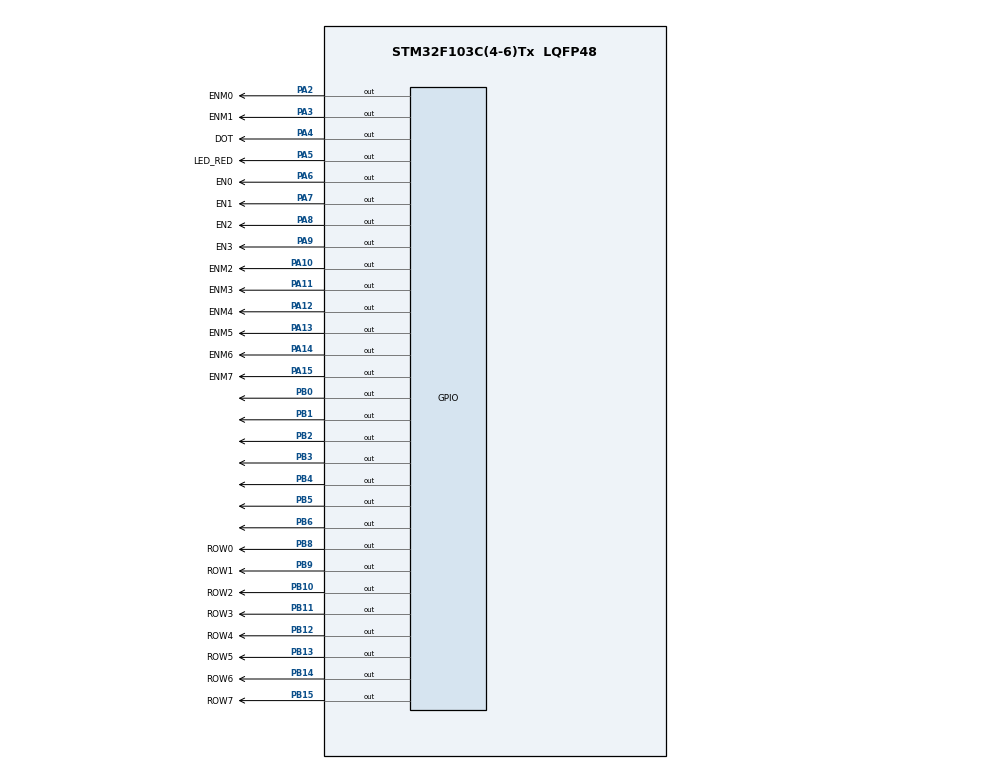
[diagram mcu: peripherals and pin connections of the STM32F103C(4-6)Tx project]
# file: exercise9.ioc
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Mcu.Family=STM32F1
Mcu.Name=STM32F103C(4-6)Tx
Mcu.Package=LQFP48
NVIC.PriorityGroup=NVIC_PRIORITYGROUP_4
NVIC.TIM2_IRQn=true\:0\:0\:false\:false\:true\:true\:true\:true
PA10.GPIO_Label=ENM2
PA10.Signal=GPIO_Output
PA11.GPIO_Label=ENM3
PA11.Signal=GPIO_Output
PA12.GPIO_Label=ENM4
PA12.Signal=GPIO_Output
PA13.GPIO_Label=ENM5
PA13.Signal=GPIO_Output
PA14.GPIO_Label=ENM6
PA14.Signal=GPIO_Output
PA15.GPIO_Label=ENM7
PA15.Signal=GPIO_Output
PA2.GPIO_Label=ENM0
PA2.Signal=GPIO_Output
PA3.GPIO_Label=ENM1
PA3.Signal=GPIO_Output
PA4.GPIO_Label=DOT
PA4.Signal=GPIO_Output
PA5.GPIO_Label=LED_RED
PA5.Signal=GPIO_Output
PA6.GPIO_Label=EN0
PA6.Signal=GPIO_Output
PA7.GPIO_Label=EN1
PA7.Signal=GPIO_Output
PA8.GPIO_Label=EN2
PA8.Signal=GPIO_Output
PA9.GPIO_Label=EN3
PA9.Signal=GPIO_Output
PB0.Signal=GPIO_Output
PB1.Signal=GPIO_Output
PB10.GPIO_Label=ROW2
PB10.Signal=GPIO_Output
PB11.GPIO_Label=ROW3
PB11.Signal=GPIO_Output
PB12.GPIO_Label=ROW4
PB12.Signal=GPIO_Output
PB13.GPIO_Label=ROW5
PB13.Signal=GPIO_Output
PB14.GPIO_Label=ROW6
PB14.Signal=GPIO_Output
PB15.GPIO_Label=ROW7
PB15.Signal=GPIO_Output
PB2.Signal=GPIO_Output
PB3.Signal=GPIO_Output
PB4.Signal=GPIO_Output
PB5.Signal=GPIO_Output
PB6.Signal=GPIO_Output
PB8.GPIO_Label=ROW0
PB8.Signal=GPIO_Output
PB9.GPIO_Label=ROW1
PB9.Signal=GPIO_Output
ProjectManager.HeapSize=0x200
ProjectManager.StackSize=0x400
ProjectManager.TargetToolchain=STM32CubeIDE
RCC.APB1Freq_Value=8000000
RCC.APB2Freq_Value=8000000
TIM2.Period=9
TIM2.Prescaler=7999
VP_TIM2_VS_ClockSourceINT.Mode=Internal
board=custom

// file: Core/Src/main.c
/* USER CODE BEGIN Header */
/**
 ******************************************************************************
 * @file           : main.c
 * @brief          : Main program body
 ******************************************************************************
 * @attention
 *
 * Copyright (c) 2022 STMicroelectronics.
 * All rights reserved.
 *
 * This software is licensed under terms that can be found in the LICENSE file
 * in the root directory of this software component.
 * If no LICENSE file comes with this software, it is provided AS-IS.
 *
 ******************************************************************************
 */
/* USER CODE END Header */
#include "main.h"

/* USER CODE BEGIN Includes */
#include "software_timer.h"
/* USER CODE END Includes */

TIM_HandleTypeDef htim2;

void SystemClock_Config(void);
static void MX_GPIO_Init(void);
static void MX_TIM2_Init(void);

int main(void) {

	/* MCU Configuration--------------------------------------------------------*/

	/* Reset of all peripherals, Initializes the Flash interface and the Systick. */
	HAL_Init();

	/* Configure the system clock */
	SystemClock_Config();

	/* Initialize all configured peripherals */
	MX_GPIO_Init();
	MX_TIM2_Init();
	/* USER CODE BEGIN 2 */
	HAL_TIM_Base_Start_IT(&htim2);
	const int MAX_LED_MATRIX = 8;
	int index_led_matrix = 0;
	uint8_t matrix_buffer_col[8] = { 0x7f, 0xbf, 0xdf, 0xef, 0xf7, 0xfb, 0xfd,
			0xfe };
	uint8_t matrix_buffer_row[8] = { 0xff, 0xc0, 0x80, 0x33, 0x33, 0x80, 0xc0,
			0xff };

	void displayCol(int stateNumber) {
		HAL_GPIO_WritePin(ENM0_GPIO_Port, ENM0_Pin, (stateNumber >> 7) & 0x01);
		HAL_GPIO_WritePin(ENM1_GPIO_Port, ENM1_Pin, (stateNumber >> 6) & 0x01);
		HAL_GPIO_WritePin(ENM2_GPIO_Port, ENM2_Pin, (stateNumber >> 5) & 0x01);
		HAL_GPIO_WritePin(ENM3_GPIO_Port, ENM3_Pin, (stateNumber >> 4) & 0x01);
		HAL_GPIO_WritePin(ENM4_GPIO_Port, ENM4_Pin, (stateNumber >> 3) & 0x01);
		HAL_GPIO_WritePin(ENM5_GPIO_Port, ENM5_Pin, (stateNumber >> 2) & 0x01);
		HAL_GPIO_WritePin(ENM6_GPIO_Port, ENM6_Pin, (stateNumber >> 1) & 0x01);
		HAL_GPIO_WritePin(ENM7_GPIO_Port, ENM7_Pin, (stateNumber >> 0) & 0x01);
	}
	void displayRow(int stateNumber) {
		HAL_GPIO_WritePin(ROW0_GPIO_Port, ROW0_Pin, (stateNumber >> 7) & 0x01);
		HAL_GPIO_WritePin(ROW1_GPIO_Port, ROW1_Pin, (stateNumber >> 6) & 0x01);
		HAL_GPIO_WritePin(ROW2_GPIO_Port, ROW2_Pin, (stateNumber >> 5) & 0x01);
		HAL_GPIO_WritePin(ROW3_GPIO_Port, ROW3_Pin, (stateNumber >> 4) & 0x01);
		HAL_GPIO_WritePin(ROW4_GPIO_Port, ROW4_Pin, (stateNumber >> 3) & 0x01);
		HAL_GPIO_WritePin(ROW5_GPIO_Port, ROW5_Pin, (stateNumber >> 2) & 0x01);
		HAL_GPIO_WritePin(ROW6_GPIO_Port, ROW6_Pin, (stateNumber >> 1) & 0x01);
		HAL_GPIO_WritePin(ROW7_GPIO_Port, ROW7_Pin, (stateNumber >> 0) & 0x01);
	}
	void updateLEDMatrix(int index) {
		switch (index) {
		case 0:
			displayCol(matrix_buffer_col[index]);
			displayRow(matrix_buffer_row[index]);
			break;
		case 1:
			displayCol(matrix_buffer_col[index]);
			displayRow(matrix_buffer_row[index]);
			break;
		case 2:
			displayCol(matrix_buffer_col[index]);
			displayRow(matrix_buffer_row[index]);
			break;
		case 3:
			displayCol(matrix_buffer_col[index]);
			displayRow(matrix_buffer_row[index]);
			break;
		case 4:
			displayCol(matrix_buffer_col[index]);
			displayRow(matrix_buffer_row[index]);
			break;
		case 5:
			displayCol(matrix_buffer_col[index]);
			displayRow(matrix_buffer_row[index]);
			break;
		case 6:
			displayCol(matrix_buffer_col[index]);
			displayRow(matrix_buffer_row[index]);
			break;
		case 7:
			displayCol(matrix_buffer_col[index]);
			displayRow(matrix_buffer_row[index]);
			break;
		default:
			break;
		}
	}
	/* USER CODE END 2 */

	/* Infinite loop */
	/* USER CODE BEGIN WHILE */
	setTimer1(47);
	setTimer2(51);
	while (1) {
		/* USER CODE END WHILE */
		if (timer1_flag) {
			setTimer1(10);
			HAL_GPIO_TogglePin(LED_RED_GPIO_Port, LED_RED_Pin);
			updateLEDMatrix(index_led_matrix);
		}
		if (timer2_flag) {
			setTimer2(10);
			index_led_matrix++;
			if (index_led_matrix > 7) {
				index_led_matrix = 0;
			}
		}
	}
}

void SystemClock_Config(void) {
	RCC_OscInitTypeDef RCC_OscInitStruct = { 0 };
	RCC_ClkInitTypeDef RCC_ClkInitStruct = { 0 };

	/** Initializes the RCC Oscillators according to the specified parameters
	 * in the RCC_OscInitTypeDef structure.
	 */
	RCC_OscInitStruct.OscillatorType = RCC_OSCILLATORTYPE_HSI;
	RCC_OscInitStruct.HSIState = RCC_HSI_ON;
	RCC_OscInitStruct.HSICalibrationValue = RCC_HSICALIBRATION_DEFAULT;
	RCC_OscInitStruct.PLL.PLLState = RCC_PLL_NONE;
	if (HAL_RCC_OscConfig(&RCC_OscInitStruct) != HAL_OK) {
		Error_Handler();
	}

	/** Initializes the CPU, AHB and APB buses clocks
	 */
	RCC_ClkInitStruct.ClockType = RCC_CLOCKTYPE_HCLK | RCC_CLOCKTYPE_SYSCLK
			| RCC_CLOCKTYPE_PCLK1 | RCC_CLOCKTYPE_PCLK2;
	RCC_ClkInitStruct.SYSCLKSource = RCC_SYSCLKSOURCE_HSI;
	RCC_ClkInitStruct.AHBCLKDivider = RCC_SYSCLK_DIV1;
	RCC_ClkInitStruct.APB1CLKDivider = RCC_HCLK_DIV1;
	RCC_ClkInitStruct.APB2CLKDivider = RCC_HCLK_DIV1;

	if (HAL_RCC_ClockConfig(&RCC_ClkInitStruct, FLASH_LATENCY_0) != HAL_OK) {
		Error_Handler();
	}
}

static void MX_TIM2_Init(void) {

	TIM_ClockConfigTypeDef sClockSourceConfig = { 0 };
	TIM_MasterConfigTypeDef sMasterConfig = { 0 };

	htim2.Instance = TIM2;
	htim2.Init.Prescaler = 7999;
	htim2.Init.CounterMode = TIM_COUNTERMODE_UP;
	htim2.Init.Period = 9;
	htim2.Init.ClockDivision = TIM_CLOCKDIVISION_DIV1;
	htim2.Init.AutoReloadPreload = TIM_AUTORELOAD_PRELOAD_DISABLE;
	if (HAL_TIM_Base_Init(&htim2) != HAL_OK) {
		Error_Handler();
	}
	sClockSourceConfig.ClockSource = TIM_CLOCKSOURCE_INTERNAL;
	if (HAL_TIM_ConfigClockSource(&htim2, &sClockSourceConfig) != HAL_OK) {
		Error_Handler();
	}
	sMasterConfig.MasterOutputTrigger = TIM_TRGO_RESET;
	sMasterConfig.MasterSlaveMode = TIM_MASTERSLAVEMODE_DISABLE;
	if (HAL_TIMEx_MasterConfigSynchronization(&htim2, &sMasterConfig)
			!= HAL_OK) {
		Error_Handler();
	}

}

static void MX_GPIO_Init(void) {
	GPIO_InitTypeDef GPIO_InitStruct = { 0 };

	/* GPIO Ports Clock Enable */
	__HAL_RCC_GPIOA_CLK_ENABLE();
	__HAL_RCC_GPIOB_CLK_ENABLE();

	/*Configure GPIO pin Output Level */
	HAL_GPIO_WritePin(GPIOA,
			ENM0_Pin | ENM1_Pin | DOT_Pin | LED_RED_Pin | EN0_Pin | EN1_Pin
					| EN2_Pin | EN3_Pin | ENM2_Pin | ENM3_Pin | ENM4_Pin
					| ENM5_Pin | ENM6_Pin | ENM7_Pin, GPIO_PIN_RESET);

	/*Configure GPIO pin Output Level */
	HAL_GPIO_WritePin(GPIOB,
			GPIO_PIN_0 | GPIO_PIN_1 | GPIO_PIN_2 | ROW2_Pin | ROW3_Pin
					| ROW4_Pin | ROW5_Pin | ROW6_Pin | ROW7_Pin | GPIO_PIN_3
					| GPIO_PIN_4 | GPIO_PIN_5 | GPIO_PIN_6 | ROW0_Pin | ROW1_Pin,
			GPIO_PIN_RESET);

	/*Configure GPIO pins : ENM0_Pin ENM1_Pin DOT_Pin LED_RED_Pin
	 EN0_Pin EN1_Pin EN2_Pin EN3_Pin
	 ENM2_Pin ENM3_Pin ENM4_Pin ENM5_Pin
	 ENM6_Pin ENM7_Pin */
	GPIO_InitStruct.Pin = ENM0_Pin | ENM1_Pin | DOT_Pin | LED_RED_Pin | EN0_Pin
			| EN1_Pin | EN2_Pin | EN3_Pin | ENM2_Pin | ENM3_Pin | ENM4_Pin
			| ENM5_Pin | ENM6_Pin | ENM7_Pin;
	GPIO_InitStruct.Mode = GPIO_MODE_OUTPUT_PP;
	GPIO_InitStruct.Pull = GPIO_NOPULL;
	GPIO_InitStruct.Speed = GPIO_SPEED_FREQ_LOW;
	HAL_GPIO_Init(GPIOA, &GPIO_InitStruct);

	/*Configure GPIO pins : PB0 PB1 PB2 ROW2_Pin
	 ROW3_Pin ROW4_Pin ROW5_Pin ROW6_Pin
	 ROW7_Pin PB3 PB4 PB5
	 PB6 ROW0_Pin ROW1_Pin */
	GPIO_InitStruct.Pin = GPIO_PIN_0 | GPIO_PIN_1 | GPIO_PIN_2 | ROW2_Pin
			| ROW3_Pin | ROW4_Pin | ROW5_Pin | ROW6_Pin | ROW7_Pin | GPIO_PIN_3
			| GPIO_PIN_4 | GPIO_PIN_5 | GPIO_PIN_6 | ROW0_Pin | ROW1_Pin;
	GPIO_InitStruct.Mode = GPIO_MODE_OUTPUT_PP;
	GPIO_InitStruct.Pull = GPIO_NOPULL;
	GPIO_InitStruct.Speed = GPIO_SPEED_FREQ_LOW;
	HAL_GPIO_Init(GPIOB, &GPIO_InitStruct);

}

/* USER CODE BEGIN 4 */
void HAL_TIM_PeriodElapsedCallback(TIM_HandleTypeDef *htim) {
	timerRun();
}
/* USER CODE END 4 */

void Error_Handler(void) {
	__disable_irq();
	while (1) {
	}
}
